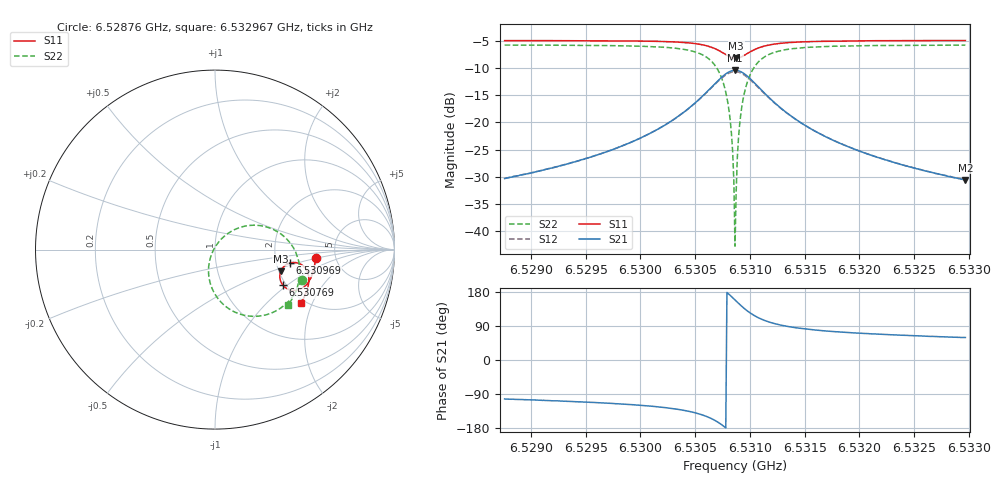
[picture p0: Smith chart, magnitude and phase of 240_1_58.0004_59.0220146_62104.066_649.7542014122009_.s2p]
#  HZ  S  RI  R  50.00
! Rohde & Schwarz Vector Network Analyzer
! Rohde-Schwarz,ZNB20-2Port,1311601062101988,3.16
! Created: UTC 3/21/2024, 1:01:01 AM
! freq[Hz]  re:S11  im:S11  re:S21  im:S21  re:S12  im:S12  re:S22  im:S22
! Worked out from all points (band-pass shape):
!   401 points, 6.52876 GHz to 6.532967 GHz, reference 50 ohm
!   highest |S21| = -10.45 dB at 6.530864 GHz (marker M1); lowest = -30.6 dB at 6.532967 GHz (marker M2)
!   |S21| within 3 dB of the highest: 6.530654 GHz to 6.531075 GHz (421 kHz wide, 0.00645 % of centre)
!   lowest |S11| = -8.3 dB at 6.530874 GHz (marker M3), VSWR 2.26, Z = 102 - j28.8 ohm
!   |S11| at or under -10 dB: nowhere
!   |S22| runs from -42.8 to -5.8 dB; largest |S21 - S12| = 0.012
!   S11 on the Smith chart (normalised r, x): 6.52876 GHz: 3.49, -0.49; 6.530769 GHz: 1.92, -0.92; 6.530969 GHz: 2.38, -0.43; 6.532967 GHz: 1.89, -1.65
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6.5287599e9  0.5602 -0.0477  -0.00676 -0.0296  -0.00743 -0.0298  0.4831 -0.1683
6.5294647e9  0.5511 -0.1063  -0.0161 -0.0425  -0.0169 -0.0421  0.4524 -0.2323
6.5301694e9  0.5244 -0.1761  -0.0488 -0.0726  -0.0509 -0.0714  0.3717 -0.3215
6.5304113e9  0.498 -0.2066  -0.0877 -0.0918  -0.0904 -0.0889  0.2925 -0.3609
6.5305902e9  0.4552 -0.2264  -0.1544 -0.0984  -0.1567 -0.0922  0.1692 -0.3671
6.5306953e9  0.4111 -0.2222  -0.2226 -0.0728  -0.2219 -0.0633  0.0543 -0.3124
6.530769e9  0.3763 -0.1958  -0.273 -0.0155  -0.2675 -0.00565  -0.0201 -0.207
6.530811e9  0.3634 -0.1686  -0.2886 0.0362  -0.28 0.0444  -0.0364 -0.1185
6.5308321e9  0.3611 -0.1526  -0.2892 0.0657  -0.2796 0.0722  -0.0318 -0.0702
6.5308426e9  0.3611 -0.1443  -0.2874 0.0805  -0.2772 0.0862  -0.026 -0.0462
6.5308531e9  0.362 -0.136  -0.2839 0.0955  -0.2735 0.1002  -0.0177 -0.0226
6.5308636e9  0.3639 -0.1277  -0.2793 0.1099  -0.2685 0.1137  -0.00728 0.000316
6.5308742e9  0.3666 -0.1198  -0.2729 0.1239  -0.2622 0.1269  0.00559 0.0219
6.5308847e9  0.3703 -0.1123  -0.2653 0.1373  -0.2547 0.1391  0.0205 0.0422
6.5308952e9  0.3746 -0.1052  -0.2568 0.1498  -0.2462 0.1505  0.037 0.0606
6.5309162e9  0.3851 -0.0927  -0.2363 0.1709  -0.2265 0.1702  0.0744 0.0916
6.5309688e9  0.4173 -0.0744  -0.1772 0.2025  -0.1704 0.1997  0.1769 0.1327
6.5310424e9  0.4595 -0.0742  -0.1035 0.2046  -0.0998 0.2019  0.3006 0.1219
6.5311476e9  0.4964 -0.0958  -0.04 0.1745  -0.0381 0.173  0.4028 0.0555
6.5315684e9  0.5228 -0.1747  0.0149 0.0844  0.0161 0.0841  0.4723 -0.1332
6.5322731e9  0.5048 -0.2466  0.0173 0.0405  0.018 0.0403  0.4432 -0.2482
6.5329673e9  0.4786 -0.2987  0.015 0.0254  0.0157 0.0252  0.4079 -0.3079
